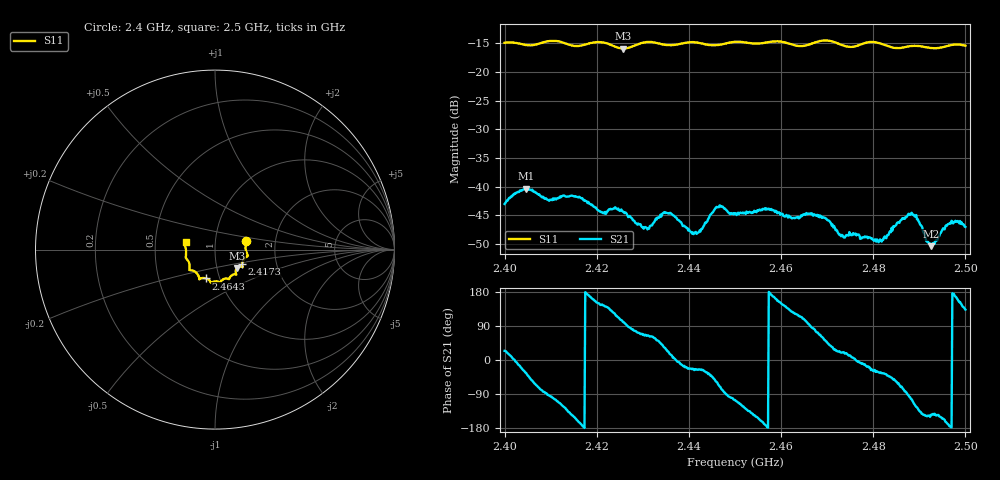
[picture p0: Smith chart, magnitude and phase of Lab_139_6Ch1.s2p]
# Hz S RI R 50
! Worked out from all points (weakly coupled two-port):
!   601 points, 2.4 GHz to 2.5 GHz, reference 50 ohm
!   highest |S21| = -40.36 dB at 2.4047 GHz (marker M1); lowest = -50.4 dB at 2.4925 GHz (marker M2)
!   lowest |S11| = -15.9 dB at 2.4257 GHz (marker M3), VSWR 1.38, Z = 62.5 - j13.1 ohm
!   |S11| at or under -10 dB: start of sweep to end of sweep
!   S12 and S22 are empty: the file has one direction only
!   S11 on the Smith chart (normalised r, x): 2.4 GHz: 1.41, +0.14; 2.4173 GHz: 1.34, -0.23; 2.4643 GHz: 0.86, -0.28; 2.5 GHz: 0.72, +0.06
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2.4e9  0.173 0.049  0.00645 0.0029  0 0  0 0
2.404667e9  0.1709 0.018  0.00795 -0.00538  0 0  0 0
2.409667e9  0.1831 -0.0321  -0.000525 -0.00752  0 0  0 0
2.416667e9  0.1527 -0.0749  -0.00781 -0.00137  0 0  0 0
2.417333e9  0.1519 -0.0823  -0.00767 -6.43e-05  0 0  0 0
2.421167e9  0.1538 -0.0962  -0.00497 0.00331  0 0  0 0
2.425667e9  0.1229 -0.1024  -0.0011 0.00597  0 0  0 0
2.430667e9  0.1188 -0.1379  0.0018 0.00404  0 0  0 0
2.433333e9  0.1126 -0.1373  0.00341 0.00415  0 0  0 0
2.436e9  0.0941 -0.1431  0.00572 0.0015  0 0  0 0
2.4415e9  0.0759 -0.1645  0.00369 -0.00165  0 0  0 0
2.446333e9  0.0448 -0.166  0.00286 -0.006  0 0  0 0
2.45e9  0.0294 -0.1809  -0.00154 -0.00563  0 0  0 0
2.464333e9  -0.0499 -0.1605  -0.00226 0.00516  0 0  0 0
2.466667e9  -0.0759 -0.1596  0.000467 0.00585  0 0  0 0
2.473333e9  -0.0931 -0.1432  0.00355 0.00129  0 0  0 0
2.4815e9  -0.1421 -0.1062  0.00287 -0.00196  0 0  0 0
2.483333e9  -0.141 -0.0896  0.00281 -0.00259  0 0  0 0
2.488333e9  -0.1612 -0.0487  -0.00139 -0.00577  0 0  0 0
2.4925e9  -0.1606 -0.0197  -0.00248 -0.00175  0 0  0 0
2.496667e9  -0.1693 0.0246  -0.00482 -0.000366  0 0  0 0
2.5e9  -0.1639 0.0425  -0.00304 0.00326  0 0  0 0
